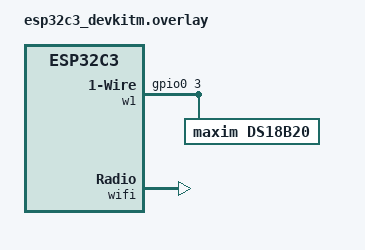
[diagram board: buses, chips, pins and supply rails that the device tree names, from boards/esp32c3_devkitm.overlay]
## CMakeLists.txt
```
cmake_minimum_required(VERSION 3.20.0)
find_package(Zephyr REQUIRED HINTS $ENV{ZEPHYR_BASE})
project(fearless_rust)

include(cmake/ClangArgs.cmake)

set(RUST_BUILD_TYPE debug)
set(RUST_TARGET "riscv32i-unknown-none-elf")
set(RUST_TARGET_DIR ${CMAKE_CURRENT_BINARY_DIR}/rust/target)
set(RUST_LIBRARY "${RUST_TARGET_DIR}/${RUST_TARGET}/${RUST_BUILD_TYPE}/libapp.a")
set(RUST_CONFIG ${CMAKE_CURRENT_SOURCE_DIR}/rust/app/.cargo/config.toml)

set(BINDGEN_CLANG_TARGET "riscv32-unknown-none-elf")
set(BINDGEN_CLANG_ARGS ${CMAKE_CURRENT_BINARY_DIR}/rust/clang_args.txt)
set(BINDGEN_WRAP_STATIC_FNS ${CMAKE_CURRENT_BINARY_DIR}/rust/static_fns.c)
set(BINDGEN_INPUT ${CMAKE_CURRENT_SOURCE_DIR}/src/bindgen_input.h)
set(BINDGEN_OUTPUT ${CMAKE_CURRENT_BINARY_DIR}/rust/bindings.rs)

set(DTS_RUST_SCRIPT ${CMAKE_CURRENT_SOURCE_DIR}/scripts/gen_dts_rust.py)
set(DTS_EDT_LIB ${ZEPHYR_BASE}/scripts/dts/python-devicetree/src)
set(DTS_EDT_PICKLE ${CMAKE_BINARY_DIR}/zephyr/edt.pickle)
set(DTS_RUST ${CMAKE_CURRENT_BINARY_DIR}/rust/dts.rs)

if(NOT CONFIG_RISCV_ISA_RV32I)
    message(FATAL_ERROR "Rust: Add support for other target")
endif()

file(MAKE_DIRECTORY ${CMAKE_CURRENT_BINARY_DIR}/rust)
configure_file(rust/app/config-template.toml ${RUST_CONFIG})
generate_clang_args(${BINDGEN_CLANG_ARGS} ${BINDGEN_CLANG_TARGET})

execute_process(
        COMMAND ${PYTHON_EXECUTABLE} ${DTS_RUST_SCRIPT}
                --edt-lib ${DTS_EDT_LIB}
                --edt-pickle ${DTS_EDT_PICKLE}
                --rust-out ${DTS_RUST}
        COMMAND_ERROR_IS_FATAL ANY
)

set(DUMMY_FILE ${CMAKE_CURRENT_BINARY_DIR}/rust/build-always)

add_custom_command(
        OUTPUT ${DUMMY_FILE}
        BYPRODUCTS ${RUST_LIBRARY} ${BINDGEN_WRAP_STATIC_FNS}
        COMMAND cargo build
        COMMENT "Building Rust application"
        WORKING_DIRECTORY ${CMAKE_CURRENT_SOURCE_DIR}/rust/app
        USES_TERMINAL
)

add_custom_target(rustapp ALL
        DEPENDS ${DUMMY_FILE}
)

add_dependencies(rustapp zephyr)
add_dependencies(app rustapp)

target_link_libraries(app PUBLIC -Wl,--allow-multiple-definition ${RUST_LIBRARY})
target_sources(app PRIVATE src/main.c src/rust_helpers.c ${BINDGEN_WRAP_STATIC_FNS})
```

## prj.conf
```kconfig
CONFIG_LOG=y
CONFIG_LOG_MODE_IMMEDIATE=y

CONFIG_CBPRINTF_FP_SUPPORT=y

CONFIG_INIT_STACKS=y
CONFIG_MAIN_STACK_SIZE=8192

CONFIG_POWEROFF=y

CONFIG_JSON_LIBRARY=y

CONFIG_SENSOR=y

CONFIG_WIFI=y
CONFIG_NET_L2_WIFI_MGMT=y
CONFIG_ESP32_WIFI_STA_AUTO_DHCPV4=y

CONFIG_NETWORKING=y
CONFIG_NET_IPV4=y
CONFIG_NET_IPV6=n
CONFIG_NET_ARP=y
CONFIG_NET_UDP=y
CONFIG_NET_TCP=y
CONFIG_NET_DHCPV4=y
CONFIG_NET_SOCKETS=y

CONFIG_NET_MGMT=y
CONFIG_NET_MGMT_EVENT=y

CONFIG_DNS_RESOLVER=y

# Added to prevent error with missing #include <ethernet/eth_stats.h> for esp_wifi_drv.c
CONFIG_NET_L2_ETHERNET=y
```

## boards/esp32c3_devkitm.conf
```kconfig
CONFIG_W1=y
CONFIG_W1_NET=y
CONFIG_DS18B20=y
```

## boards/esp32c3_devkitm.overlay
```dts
/ {
	aliases {
		temp-sensor = &ds18b20;
	};

	w1: w1_gpio {
		compatible = "zephyr,w1-gpio";
		gpios = <&gpio0 3 (GPIO_ACTIVE_HIGH | GPIO_OPEN_DRAIN | GPIO_PULL_UP)>;
		status = "okay";

		ds18b20: ds18b20 {
			compatible = "maxim,ds18b20";
			resolution = <12>;
			status = "okay";
		};
	};
};

&wifi {
	status = "okay";
};
```

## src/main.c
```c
#include <zephyr/kernel.h>
#include <zephyr/logging/log.h>
#include <zephyr/net/wifi_mgmt.h>

extern void rust_main();

int main(void)
{
	static const uint32_t value = NET_EVENT_WIFI_CONNECT_RESULT;

	rust_main();
	return 0;
}
```

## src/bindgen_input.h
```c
#include <errno.h>
#include <zephyr/kernel.h>
#include <zephyr/drivers/sensor.h>
#include <zephyr/drivers/w1.h>
#include <zephyr/net/wifi.h>
#include <zephyr/net/net_if.h>
#include <zephyr/net/wifi_mgmt.h>
#include <zephyr/net/net_event.h>
#include <zephyr/net/socket.h>
#include <zephyr/sys/poweroff.h>
#include <esp_sleep.h>
#include "rust_helpers.h"
```

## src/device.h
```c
#pragma once

#include <stdint.h>

uint64_t device_id_get();

void device_schedule_wakeup(int seconds);
void device_deep_sleep();
```

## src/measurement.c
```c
#include "measurement.h"
#include <zephyr/kernel.h>
#include <zephyr/device.h>
#include <zephyr/devicetree.h>
#include <zephyr/drivers/sensor.h>
#include <zephyr/logging/log.h>
#include <zephyr/data/json.h>

LOG_MODULE_REGISTER(measurement);

#define SENSOR_NODE   DT_ALIAS(temp_sensor)

static const struct device *sensor_dev = DEVICE_DT_GET(SENSOR_NODE);

struct measurement_json {
    const char* device_id;
    struct json_obj_token temperature;
};

static const struct json_obj_descr measurement_descr[] = {
    JSON_OBJ_DESCR_PRIM(struct measurement_json, device_id, JSON_TOK_STRING),
    JSON_OBJ_DESCR_PRIM(struct measurement_json, temperature, JSON_TOK_FLOAT),
};

int measurement_get(struct measurement *output)
{
    struct sensor_value temp;
    int ret;

    if (!device_is_ready(sensor_dev)) {
        LOG_ERR("Sensor device not ready!");
        return -ENODEV;
    }

    ret = sensor_sample_fetch(sensor_dev);

    if (ret != 0) {
        LOG_ERR("Sample fetch failed: %d", ret);
        return ret;
    }

    ret = sensor_channel_get(sensor_dev, SENSOR_CHAN_AMBIENT_TEMP, &temp);

    if (ret != 0) {
        LOG_ERR("Channel get failed: %d", ret);
        return ret;
    }

    output->temperature = (float) temp.val1 + ((float) temp.val2 * 0.000001f);
    strcpy(output->device_id, "TODO");
    return 0;
}

int measurement_serialize(const struct measurement *measurement, char *buffer, size_t buffer_size)
{
    char float_buf[32] = {0};
    int float_len = snprintf(float_buf, sizeof(float_buf), "%.3f", (double) measurement->temperature);

    struct measurement_json measurement_json = {
        .device_id = measurement->device_id,
        .temperature = { .start = float_buf, .length = float_len },
    };

    int ret = json_obj_encode_buf(
        measurement_descr,
        ARRAY_SIZE(measurement_descr),
        &measurement_json,
        buffer,
        buffer_size
    );

    if (ret != 0) {
        LOG_ERR("Serialization failed: %d", ret);
        return ret;
    }

    return 0;
}
```

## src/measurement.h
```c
#pragma once

int measurement_get(float *temperature);
```

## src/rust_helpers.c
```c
#include "rust_helpers.h"
#include <zephyr/kernel.h>
#include <zephyr/net/net_mgmt.h>

extern void rust_net_mgmt_event_handler(void* rust_data, struct net_if *iface, uint32_t mgmt_event, const void* info, size_t info_length);

static void net_mgmt_event_handler(struct net_mgmt_event_callback *cb, uint32_t mgmt_event, struct net_if *iface);

void rust_panic(void)
{
    k_panic();
}

int rust_errno(void)
{
    return errno;
}

void rust_net_mgmt_add_event_callback(struct rust_net_mgmt_cb *rust_cb, uint32_t mgmt_event_mask, void* rust_data)
{
    rust_cb->rust_data = rust_data;

    net_mgmt_init_event_callback(&rust_cb->net_mgmt_cb, net_mgmt_event_handler, mgmt_event_mask);
    net_mgmt_add_event_callback(&rust_cb->net_mgmt_cb);
}

void rust_net_mgmt_del_event_callback(struct rust_net_mgmt_cb *rust_cb)
{
    net_mgmt_del_event_callback(&rust_cb->net_mgmt_cb);
}

static void net_mgmt_event_handler(struct net_mgmt_event_callback *cb, uint32_t mgmt_event, struct net_if *iface)
{
    struct rust_net_mgmt_cb *rust_cb = CONTAINER_OF(cb, struct rust_net_mgmt_cb, net_mgmt_cb);
    rust_net_mgmt_event_handler(rust_cb->rust_data, iface, mgmt_event, cb->info, cb->info_length);
}
```

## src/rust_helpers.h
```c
#pragma once

#include <zephyr/net/net_mgmt.h>

void rust_panic(void);
int rust_errno(void);

struct rust_net_mgmt_cb {
    struct net_mgmt_event_callback net_mgmt_cb;
    void* rust_data;
};

void rust_net_mgmt_add_event_callback(struct rust_net_mgmt_cb* rust_cb, uint32_t mgmt_event_mask, void* rust_data);
void rust_net_mgmt_del_event_callback(struct rust_net_mgmt_cb* rust_cb);
```

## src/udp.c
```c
#include "udp.h"
#include <zephyr/kernel.h>
#include <zephyr/net/socket.h>

// Include Git ignored file containing UDP server info. Must contain:
// #define UDP_SERVER    "<host>"
// #define UDP_PORT      <port>
#include "udp_server.h"

LOG_MODULE_REGISTER(udp);

static int udp_socket = 0;

int udp_init()
{
    struct sockaddr_in addr4;
    addr4.sin_family = AF_INET;
    addr4.sin_port = htons(UDP_PORT);

    zsock_inet_pton(AF_INET, UDP_SERVER, &addr4.sin_addr);

    udp_socket = zsock_socket(addr4.sin_family, SOCK_DGRAM, IPPROTO_UDP);

    if (udp_socket < 0) {
        LOG_ERR("Failed to create socket: %d", -errno);
        return -errno;
    }

    int ret = zsock_connect(udp_socket, (const struct sockaddr *) &addr4, sizeof(addr4));

    if (ret < 0) {
        LOG_ERR("Failed to connect UDP socket: %d", -errno);
        return -errno;
    }

    LOG_INF("UDP socket initialized");
    return 0;
}

int udp_send(const void *payload, size_t length)
{
    int ret = zsock_send(udp_socket, payload, length, 0);

    if (ret < 0) {
        LOG_ERR("Failed to send: %d", ret);
        return -EIO;
    }

    LOG_INF("Sent %u bytes", length);
    return 0;
}
```

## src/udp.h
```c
#pragma once

#include <stdlib.h>

int udp_init();
int udp_send(const void* payload, size_t length);
```

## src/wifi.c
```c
#include "wifi.h"
#include <zephyr/init.h>
#include <zephyr/kernel.h>
#include <zephyr/net/net_if.h>
#include <zephyr/net/wifi_mgmt.h>
#include <zephyr/net/net_event.h>

// Include Git ignored file containing credentials. Must contain:
// #define WIFI_SSID     "<ssid>"
// #define WIFI_PSK      "<password>"
#include "wifi_credentials.h"

LOG_MODULE_REGISTER(wifi);

static void net_mgmt_event_handler(struct net_mgmt_event_callback *cb, uint32_t mgmt_event, struct net_if *iface);
static void handle_wifi_connect_result(struct net_mgmt_event_callback *cb, struct net_if *iface);
static void handle_wifi_disconnect_result(struct net_mgmt_event_callback *cb);
static void handle_ipv4_result(struct net_if *iface);

static struct net_mgmt_event_callback wifi_cb;
static struct net_mgmt_event_callback ipv4_cb;

static K_SEM_DEFINE(connected_sem, 0, 1);
static K_SEM_DEFINE(ip_obtained_sem, 0, 1);
static K_SEM_DEFINE(disconnected_sem, 0, 1);

void wifi_init()
{
    net_mgmt_init_event_callback(
        &wifi_cb,
        net_mgmt_event_handler,
        NET_EVENT_WIFI_CONNECT_RESULT | NET_EVENT_WIFI_DISCONNECT_RESULT
    );

    net_mgmt_init_event_callback(
        &ipv4_cb,
        net_mgmt_event_handler,
        NET_EVENT_IPV4_ADDR_ADD
    );

    net_mgmt_add_event_callback(&wifi_cb);
    net_mgmt_add_event_callback(&ipv4_cb);
}

int wifi_connect()
{
    struct net_if *iface = net_if_get_default();
    struct wifi_connect_req_params wifi_params = {};

    wifi_params.ssid = WIFI_SSID;
    wifi_params.psk = WIFI_PSK;
    wifi_params.ssid_length = strlen(WIFI_SSID);
    wifi_params.psk_length = strlen(WIFI_PSK);
    wifi_params.channel = WIFI_CHANNEL_ANY;
    wifi_params.security = WIFI_SECURITY_TYPE_PSK;
    wifi_params.band = WIFI_FREQ_BAND_2_4_GHZ;
    wifi_params.mfp = WIFI_MFP_OPTIONAL;

    LOG_INF("Connecting to SSID: %s", wifi_params.ssid);

    int ret = net_mgmt(NET_REQUEST_WIFI_CONNECT, iface, &wifi_params, sizeof(struct wifi_connect_req_params));

    if (ret != 0) {
        LOG_ERR("Connection request failed: %d", ret);
        return ret;
    }

    ret = k_sem_take(&connected_sem, K_SECONDS(15));

    if (ret != 0) {
        LOG_ERR("Failed to connect");
        return ret;
    }

    net_dhcpv4_start(iface);

    ret = k_sem_take(&ip_obtained_sem, K_SECONDS(15));

    if (ret != 0) {
        LOG_ERR("Failed to obtain IP address");
        return ret;
    }

    return 0;
}

int wifi_disconnect()
{
    struct net_if *iface = net_if_get_default();

    LOG_INF("Disconnecting");

    int ret = net_mgmt(NET_REQUEST_WIFI_DISCONNECT, iface, NULL, 0);

    if (ret != 0) {
        LOG_ERR("Disconnection request failed: %d", ret);
        return ret;
    }

    ret = k_sem_take(&disconnected_sem, K_SECONDS(5));

    if (ret != 0) {
        LOG_ERR("Failed to disconnect");
        return ret;
    }

    return 0;
}

static void net_mgmt_event_handler(struct net_mgmt_event_callback *cb, uint32_t mgmt_event, struct net_if *iface)
{
    switch (mgmt_event) {
        case NET_EVENT_WIFI_CONNECT_RESULT:
            handle_wifi_connect_result(cb, iface);
            break;

        case NET_EVENT_WIFI_DISCONNECT_RESULT:
            handle_wifi_disconnect_result(cb);
            break;

        case NET_EVENT_IPV4_ADDR_ADD:
            handle_ipv4_result(iface);
            break;

        default:
            break;
    }
}

static void handle_wifi_connect_result(struct net_mgmt_event_callback *cb, struct net_if *iface)
{
    const struct wifi_status *status = cb->info;

    if (status->status == 0) {
        LOG_INF("Connected");
        k_sem_give(&connected_sem);
    } else {
        LOG_ERR("Connection request failed: %d", status->status);
    }
}

static void handle_wifi_disconnect_result(struct net_mgmt_event_callback *cb)
{
    const struct wifi_status *status = cb->info;

    if (status->status == 0) {
        LOG_INF("Disconnected");
        k_sem_give(&disconnected_sem);
    } else {
        LOG_ERR("Disconnection request failed: %d", status->status);
    }
}

static void handle_ipv4_result(struct net_if *iface)
{
    for (int i = 0; i < NET_IF_MAX_IPV4_ADDR; i++) {
        char buf[NET_IPV4_ADDR_LEN];

        if (iface->config.ip.ipv4->unicast[i].ipv4.addr_type != NET_ADDR_DHCP) {
            continue;
        }

        LOG_INF("IP address obtained");
        LOG_INF("  Address: %s", net_addr_ntop(AF_INET, &iface->config.ip.ipv4->unicast[i].ipv4.address.in_addr, buf, sizeof(buf)));
        LOG_INF("  Netmask: %s", net_addr_ntop(AF_INET, &iface->config.ip.ipv4->unicast[i].netmask, buf, sizeof(buf)));
        LOG_INF("  Gateway: %s", net_addr_ntop(AF_INET, &iface->config.ip.ipv4->gw, buf, sizeof(buf)));
    }

    k_sem_give(&ip_obtained_sem);
}
```

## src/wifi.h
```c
#pragma once

void wifi_init(void);
int wifi_connect(void);
int wifi_disconnect(void);
```
